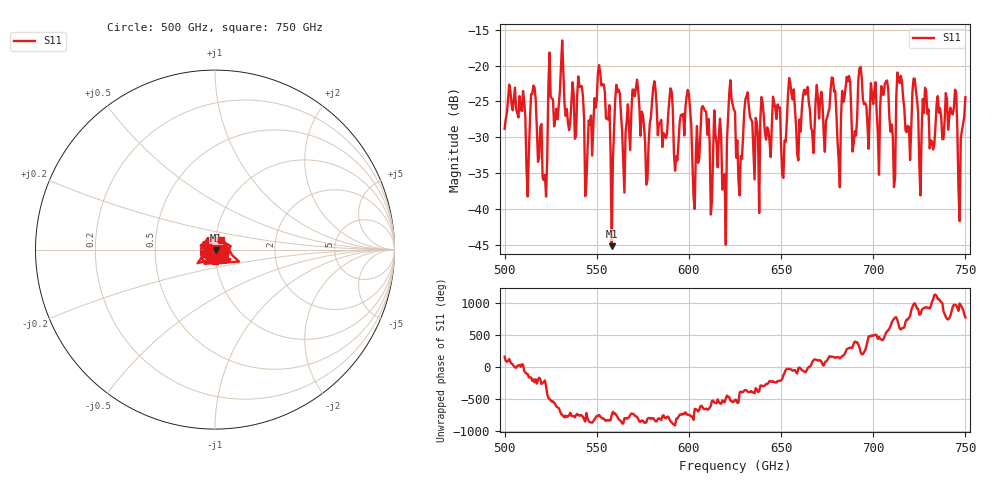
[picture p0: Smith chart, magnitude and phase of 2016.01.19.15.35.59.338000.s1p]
!Created with skrf (http://scikit-rf.org).
# GHz S RI R 50.0
!freq ReS11 ImS11
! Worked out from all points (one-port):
!   401 points, 500 GHz to 750 GHz, reference 50 ohm
!   lowest |S11| = -45.2 dB at 558.1 GHz (marker M1), VSWR 1.01, Z = 50.5 - j0.288 ohm
!   |S11| at or under -10 dB: start of sweep to end of sweep
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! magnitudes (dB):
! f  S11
! 500 GHz  -28.8
! 512.5 GHz  -38.3
! 515.6 GHz  -22.8
! 521.9 GHz  -35.3
! 525 GHz  -24.4
! 531.2 GHz  -16.5
! 541.2 GHz  -22.8
! 545 GHz  -31.8
! 551.9 GHz  -21.0
! 558.1 GHz  -45.2
! 562.5 GHz  -23.9
! 593.8 GHz  -33.2
! 599.4 GHz  -23.4
! 603.8 GHz  -32.2
! 608.1 GHz  -26.0
! 619.4 GHz  -35.1
! 622.5 GHz  -22.0
! 625 GHz  -26.4
! 651.2 GHz  -35.7
! 656.2 GHz  -24.7
! 687.5 GHz  -22.2
! 706.9 GHz  -22.2
! 710.6 GHz  -29.9
! 714.4 GHz  -22.4
! 718.8 GHz  -28.4
! 743.8 GHz  -25.9
! 746.9 GHz  -41.7
! 750 GHz  -24.4
